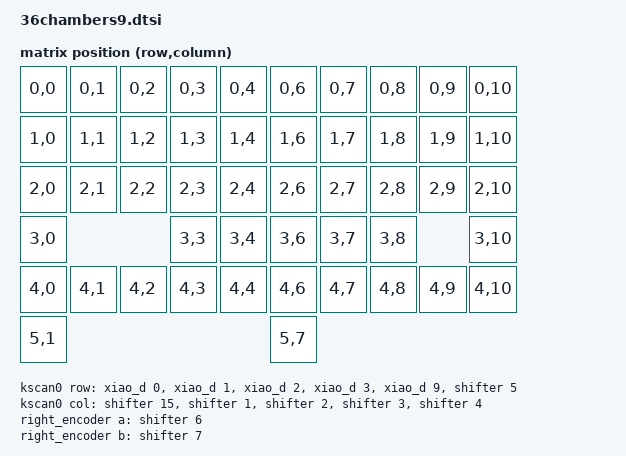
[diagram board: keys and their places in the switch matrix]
/*
 * Copyright (c) 2020 The ZMK Contributors
 *
 * SPDX-License-Identifier: MIT
 */

#include <dt-bindings/zmk/matrix_transform.h>

/ {
	chosen {
		zmk,kscan = &kscan0;
		zmk,matrix_transform = &default_transform;
	};

	default_transform: keymap_transform_0 {
		compatible = "zmk,matrix-transform";
		columns = <10>;
		rows = <6>;
// | SW1  | SW2  | SW3  | SW4  | SW5  |   | SW5  | SW4  | SW3  | SW2  | SW1  |
// | SW6  | SW7  | SW8  | SW9  | SW10 |   | SW10 | SW9  | SW8  | SW7  | SW6  |
// | SW11 | SW12 | SW13 | SW14 | SW15 |   | SW15 | SW14 | SW13 | SW12 | SW11 |
// | SW16 |      |      | SW17 | SW18 |   | SW19 | SW19 | SW18 |      | SW16 |
// | U3A  | U3CT | U3C  | U3B  | U3D  |   | SW24 | SW23 | SW22 | SW21 | SW20 |
		map = <
RC(0,0) RC(0,1) RC(0,2) RC(0,3) RC(0,4)  RC(0,6) RC(0,7) RC(0,8) RC(0,9) RC(0,10)
RC(1,0) RC(1,1) RC(1,2) RC(1,3) RC(1,4)  RC(1,6) RC(1,7) RC(1,8) RC(1,9) RC(1,10)
RC(2,0) RC(2,1) RC(2,2) RC(2,3) RC(2,4)  RC(2,6) RC(2,7) RC(2,8) RC(2,9) RC(2,10)
RC(3,0)                 RC(3,3) RC(3,4)  RC(3,6) RC(3,7) RC(3,8)         RC(3,10)
RC(4,0) RC(4,1) RC(4,2) RC(4,3) RC(4,4)  RC(4,6) RC(4,7) RC(4,8) RC(4,9) RC(4,10)
RC(5,1)                                  RC(5,7)
		>;
	};
    kscan0: kscan {
        compatible = "zmk,kscan-gpio-matrix";
        diode-direction = "col2row";
    col-gpios
        = <&shifter 15 GPIO_ACTIVE_HIGH>
        , <&shifter 1 GPIO_ACTIVE_HIGH>
        , <&shifter 2 GPIO_ACTIVE_HIGH>
        , <&shifter 3 GPIO_ACTIVE_HIGH>
        , <&shifter 4 GPIO_ACTIVE_HIGH>
    ;

	row-gpios
    	= <&xiao_d 0 (GPIO_ACTIVE_HIGH | GPIO_PULL_DOWN)>
    	, <&xiao_d 1 (GPIO_ACTIVE_HIGH | GPIO_PULL_DOWN)>
    	, <&xiao_d 2 (GPIO_ACTIVE_HIGH | GPIO_PULL_DOWN)>
    	, <&xiao_d 3 (GPIO_ACTIVE_HIGH | GPIO_PULL_DOWN)>
    	, <&xiao_d 9 (GPIO_ACTIVE_HIGH | GPIO_PULL_DOWN)>
        , <&shifter 5 GPIO_ACTIVE_HIGH>
    	;
    };

	right_encoder: encoder_right {
        compatible = "alps,ec11";
        label = "RIGHT_ENCODER";
        a-gpios = <&shifter 6 (GPIO_ACTIVE_HIGH)>;
        b-gpios = <&shifter 7 (GPIO_ACTIVE_HIGH)>;
        steps = <80>;
    };

	sensors: sensors {
        compatible = "zmk,keymap-sensors";
        sensors = <&right_encoder>;
        triggers-per-rotation = <20>;
    };
};

&xiao_spi {
    status = "okay";
    cs-gpios = <&xiao_d 9 GPIO_ACTIVE_LOW>;
    shifter: 595@0 {
        compatible = "zmk,gpio-595";
        status = "okay";
        gpio-controller;
        spi-max-frequency = <200000>;
        reg = <0>;
        #gpio-cells = <2>;
        ngpios = <8>;
    };
};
